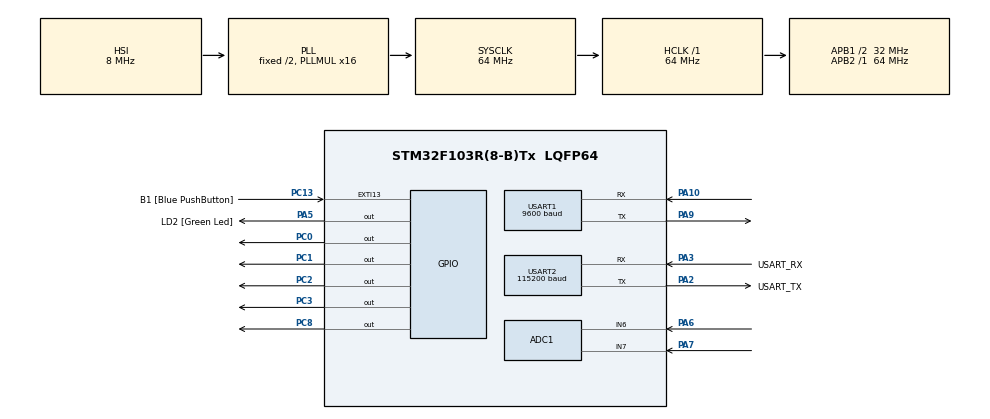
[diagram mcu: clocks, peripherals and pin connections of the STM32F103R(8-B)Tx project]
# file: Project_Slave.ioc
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ADC1.Channel-0\#ChannelRegularConversion=ADC_CHANNEL_6
ADC1.Channel-1\#ChannelRegularConversion=ADC_CHANNEL_7
ADC1.ContinuousConvMode=ENABLE
ADC1.NbrOfConversion=2
ADC1.NbrOfConversionFlag=1
ADC1.Rank-0\#ChannelRegularConversion=1
ADC1.Rank-1\#ChannelRegularConversion=2
ADC1.SamplingTime-0\#ChannelRegularConversion=ADC_SAMPLETIME_239CYCLES_5
ADC1.SamplingTime-1\#ChannelRegularConversion=ADC_SAMPLETIME_239CYCLES_5
ADC1.master=1
Dma.ADC1.0.Direction=DMA_PERIPH_TO_MEMORY
Dma.ADC1.0.Instance=DMA1_Channel1
Dma.ADC1.0.MemDataAlignment=DMA_MDATAALIGN_WORD
Dma.ADC1.0.MemInc=DMA_MINC_ENABLE
Dma.ADC1.0.Mode=DMA_CIRCULAR
Dma.ADC1.0.PeriphDataAlignment=DMA_PDATAALIGN_WORD
Dma.ADC1.0.PeriphInc=DMA_PINC_DISABLE
Dma.ADC1.0.Priority=DMA_PRIORITY_LOW
Dma.Request0=ADC1
Dma.Request1=USART1_RX
Dma.USART1_RX.1.Direction=DMA_PERIPH_TO_MEMORY
Dma.USART1_RX.1.Instance=DMA1_Channel5
Dma.USART1_RX.1.MemDataAlignment=DMA_MDATAALIGN_WORD
Dma.USART1_RX.1.MemInc=DMA_MINC_ENABLE
Dma.USART1_RX.1.Mode=DMA_CIRCULAR
Dma.USART1_RX.1.PeriphDataAlignment=DMA_PDATAALIGN_WORD
Dma.USART1_RX.1.PeriphInc=DMA_PINC_DISABLE
Dma.USART1_RX.1.Priority=DMA_PRIORITY_LOW
Mcu.Family=STM32F1
Mcu.Name=STM32F103R(8-B)Tx
Mcu.Package=LQFP64
NVIC.ADC1_2_IRQn=true\:0\:0\:false\:false\:true\:true\:true\:true
NVIC.DMA1_Channel1_IRQn=true\:0\:0\:false\:false\:true\:false\:true\:true
NVIC.DMA1_Channel5_IRQn=true\:0\:0\:false\:false\:true\:false\:true\:true
NVIC.EXTI15_10_IRQn=true\:0\:0\:false\:false\:true\:true\:true\:true
NVIC.PriorityGroup=NVIC_PRIORITYGROUP_4
NVIC.USART2_IRQn=true\:0\:0\:false\:false\:true\:true\:true\:true
PA10.Mode=Asynchronous
PA10.Signal=USART1_RX
PA13.GPIO_Label=TMS
PA13.Mode=Serial_Wire
PA13.Signal=SYS_JTMS-SWDIO
PA14.GPIO_Label=TCK
PA14.Mode=Serial_Wire
PA14.Signal=SYS_JTCK-SWCLK
PA2.GPIO_Label=USART_TX
PA2.GPIO_Mode=GPIO_MODE_AF_PP
PA2.GPIO_PuPd=GPIO_NOPULL
PA2.GPIO_Speed=GPIO_SPEED_FREQ_LOW
PA2.Mode=Asynchronous
PA2.Signal=USART2_TX
PA3.GPIO_Label=USART_RX
PA3.GPIO_Mode=GPIO_MODE_AF_PP
PA3.GPIO_PuPd=GPIO_NOPULL
PA3.GPIO_Speed=GPIO_SPEED_FREQ_LOW
PA3.Mode=Asynchronous
PA3.Signal=USART2_RX
PA5.GPIO_Label=LD2 [Green Led]
PA5.GPIO_ModeDefaultOutputPP=GPIO_MODE_OUTPUT_PP
PA5.GPIO_PuPd=GPIO_NOPULL
PA5.GPIO_Speed=GPIO_SPEED_FREQ_LOW
PA5.Signal=GPIO_Output
PA6.Signal=ADCx_IN6
PA7.Signal=ADCx_IN7
PA9.Mode=Asynchronous
PA9.Signal=USART1_TX
PB3.GPIO_Label=SWO
PB3.Signal=SYS_JTDO-TRACESWO
PC0.Signal=GPIO_Output
PC1.Signal=GPIO_Output
PC13-TAMPER-RTC.GPIO_Label=B1 [Blue PushButton]
PC13-TAMPER-RTC.GPIO_PuPd=GPIO_NOPULL
PC13-TAMPER-RTC.Signal=GPXTI13
PC14-OSC32_IN.Mode=LSE-External-Oscillator
PC14-OSC32_IN.Signal=RCC_OSC32_IN
PC15-OSC32_OUT.Mode=LSE-External-Oscillator
PC15-OSC32_OUT.Signal=RCC_OSC32_OUT
PC2.Signal=GPIO_Output
PC3.Signal=GPIO_Output
PC8.Signal=GPIO_Output
PD0-OSC_IN.Mode=HSE-External-Clock-Source
PD0-OSC_IN.Signal=RCC_OSC_IN
PD1-OSC_OUT.Mode=HSE-External-Clock-Source
PD1-OSC_OUT.Signal=RCC_OSC_OUT
ProjectManager.HeapSize=0x200
ProjectManager.StackSize=0x400
ProjectManager.TargetToolchain=STM32CubeIDE
RCC.ADCPresc=RCC_ADCPCLK2_DIV8
RCC.AHBFreq_Value=64000000
RCC.APB1CLKDivider=RCC_HCLK_DIV2
RCC.APB1Freq_Value=32000000
RCC.APB1TimFreq_Value=64000000
RCC.APB2Freq_Value=64000000
RCC.APB2TimFreq_Value=64000000
RCC.HCLKFreq_Value=64000000
RCC.PLLMUL=RCC_PLL_MUL16
RCC.RTCClockSelection=RCC_RTCCLKSOURCE_LSE
RCC.SYSCLKFreq_VALUE=64000000
RCC.SYSCLKSource=RCC_SYSCLKSOURCE_PLLCLK
RCC.USBFreq_Value=64000000
SH.ADCx_IN6.0=ADC1_IN6,IN6
SH.ADCx_IN7.0=ADC1_IN7,IN7
TIM1.Period=65535
TIM1.Prescaler=64000-1
USART1.BaudRate=9600
USART1.VirtualMode=VM_ASYNC
USART2.BaudRate=115200
USART2.VirtualMode=VM_ASYNC
VP_TIM1_VS_ClockSourceINT.Mode=Internal
board=NUCLEO-F103RB

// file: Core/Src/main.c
/* USER CODE BEGIN Header */
/**
  ******************************************************************************
  * @file           : main.c
  * @brief          : Main program body
  ******************************************************************************
  * @attention
  *
  * Copyright (c) 2022 STMicroelectronics.
  * All rights reserved.
  *
  * This software is licensed under terms that can be found in the LICENSE file
  * in the root directory of this software component.
  * If no LICENSE file comes with this software, it is provided AS-IS.
  *
  ******************************************************************************
  */
/* USER CODE END Header */
#include "main.h"

/* USER CODE BEGIN Includes */
#include <stdio.h>
#include <stdlib.h>
#include <time.h>

/* USER CODE END Includes */

 ADC_HandleTypeDef hadc1;
DMA_HandleTypeDef hdma_adc1;
TIM_HandleTypeDef htim1;
UART_HandleTypeDef huart1;
UART_HandleTypeDef huart2;
DMA_HandleTypeDef hdma_usart1_rx;

/* USER CODE BEGIN PV */

uint32_t adc_value[2]; // Joystick's values {X(LEFT/RIGIHT), Y(UP/DOWN)}
int comp = 4; // Values of the Joystick (to Int) (to send the data to Master Board)

int dis_flag[2]; // Receiving data set from Master Board (data set[2] = {alarm ON/OFF(0, 1), distance(Ultrasonic Sensor's values)};)
int distance; // Ultrasonic sensor's values from Master Board (dis_flag[1])

/* USER CODE END PV */

void SystemClock_Config(void);
static void MX_GPIO_Init(void);
static void MX_USART2_UART_Init(void);
static void MX_DMA_Init(void);
static void MX_ADC1_Init(void);
static void MX_USART1_UART_Init(void);
static void MX_TIM1_Init(void);
/* USER CODE BEGIN PFP */
#ifdef __GNUC__
/* With GCC, small printf (option LD Linker->Libraries->Small printf
   set to 'Yes') calls __io_putchar() */
#define PUTCHAR_PROTOTYPE int __io_putchar(int ch)
#else
#define PUTCHAR_PROTOTYPE int fputc(int ch, FILE *f)
#endif /* __GNUC__ */

PUTCHAR_PROTOTYPE
{
  /* Place your implementation of fputc here */
  /* e.g. write a character to the USART1 and Loop until the end of transmission */
  HAL_UART_Transmit(&huart2, (uint8_t *)&ch, 1, 0xFFFF);

  return ch;
}

/* USER CODE END PFP */

/* USER CODE BEGIN 0 */

//========================================

// Making our own 'milli-seconds delay' instead of using HAL_Delay(), for the purpose of protecting against connection error
void ms_delay(uint16_t delay)
{
	__HAL_TIM_SET_COUNTER(&htim1, 0);
	while(__HAL_TIM_GET_COUNTER(&htim1) < delay);
}

//========================================

void Drive() // Going straight
{
	HAL_GPIO_WritePin(GPIOC, GPIO_PIN_0, GPIO_PIN_SET);
	HAL_GPIO_WritePin(GPIOC, GPIO_PIN_2, GPIO_PIN_SET);
}

void Stop()
{
	HAL_GPIO_WritePin(GPIOC, GPIO_PIN_0, GPIO_PIN_RESET);
	HAL_GPIO_WritePin(GPIOC, GPIO_PIN_2, GPIO_PIN_RESET);
}

void Reverse() // Going back & Turning Left or Right
{
	// Random (Turning Left || Turning Right)
	int random = rand() % 2;

	if (distance < 10) // if the distance of the alarm clock(values from the ultrasonic sensor) becomes 10cm
	{
		HAL_GPIO_WritePin(GPIOC, GPIO_PIN_0 | GPIO_PIN_2, GPIO_PIN_RESET); // Stop going straight
		ms_delay(1000);
		HAL_GPIO_WritePin(GPIOC, GPIO_PIN_1 | GPIO_PIN_3, GPIO_PIN_SET); // Going back for 1 sec
		ms_delay(1000);
		HAL_GPIO_WritePin(GPIOC, GPIO_PIN_1 | GPIO_PIN_3, GPIO_PIN_RESET); // Stop going back

		// Turning Left
		if (random == 0)
		{
			HAL_GPIO_WritePin(GPIOC, GPIO_PIN_0, GPIO_PIN_SET); // Start turning left for 1 sec
			ms_delay(1000);
			HAL_GPIO_WritePin(GPIOC, GPIO_PIN_0, GPIO_PIN_RESET); // Stop turning left
		}

		// Turning Right
		else if (random == 1)
		{
			HAL_GPIO_WritePin(GPIOC, GPIO_PIN_2, GPIO_PIN_SET); // Start turning right for 1 sec
			ms_delay(1000);
			HAL_GPIO_WritePin(GPIOC, GPIO_PIN_2, GPIO_PIN_RESET); // Stop turning right
		}
	}
}

//========================================

void JoystickSend() // Sending Joystick's values to Master board
{
	if(adc_value[1] <= 100) {comp = 0;} //U -> UP
	else if(adc_value[1] >= 4000) {comp = 1;} //D -> DOWN
	else if(adc_value[0] >= 4000 ) {comp = 2;} //L -> LEFT
	else if(adc_value[0] <= 100) {comp = 3;} //R -> RIGHT
	else {comp = 4;} // Sending nothing

	//HAL_UART_Transmit(&huart1, &comp, comp, 0xFFFF); // Sending Joystick's values to Master Board
}

//========================================

/* USER CODE END 0 */

int main(void)
{

  /* MCU Configuration--------------------------------------------------------*/

  /* Reset of all peripherals, Initializes the Flash interface and the Systick. */
  HAL_Init();

  /* Configure the system clock */
  SystemClock_Config();

  /* Initialize all configured peripherals */
  MX_GPIO_Init();
  MX_USART2_UART_Init();
  MX_DMA_Init();
  MX_ADC1_Init();
  MX_USART1_UART_Init();
  MX_TIM1_Init();
  /* USER CODE BEGIN 2 */
  HAL_TIM_Base_Start(&htim1); // for using milli-second delay

  HAL_ADC_Start_DMA(&hadc1, adc_value, 2); // for getting joystick's values

  HAL_UART_Receive_DMA(&huart1, dis_flag, 2); // for receiving datas from Master Board

  /* USER CODE END 2 */

  /* Infinite loop */
  /* USER CODE BEGIN WHILE */
  while (1)
  {
	  if (dis_flag[0] == 1) // if receiving "alarm ON"  (0 : alarm OFF / 1 : alarm ON )
	  {
		  Drive(); // going straight(default)

		  if (dis_flag[1] < 15) // if the ultrasonic sensor's values becomes less than 10cm while going straight
		  {
			  Reverse(); // going back + turning left or right(random)
		  }
	  }
	  else if (dis_flag[0] == 0)
	  {
		  Stop(); // Stop moving
	  }

	  // Checking and sending Joystick's values to Master Board
	  if(adc_value[1] <= 200) {comp = 0;} //U -> UP
	  else if(adc_value[1] >= 4000) {comp = 1;} //D -> DOWN
	  else if(adc_value[0] >= 4000 ) {comp = 2;} //L -> LEFT
	  else if(adc_value[0] <= 200) {comp = 3;} //R -> RIGHT
	  else {comp = 4;} // Default
	  HAL_UART_Transmit(&huart1, &comp, 1, 0xFFFF); // Sending Joystick's values to Master Board

    /* USER CODE END WHILE */

  }
}

void SystemClock_Config(void)
{
  RCC_OscInitTypeDef RCC_OscInitStruct = {0};
  RCC_ClkInitTypeDef RCC_ClkInitStruct = {0};
  RCC_PeriphCLKInitTypeDef PeriphClkInit = {0};

  /** Initializes the RCC Oscillators according to the specified parameters
  * in the RCC_OscInitTypeDef structure.
  */
  RCC_OscInitStruct.OscillatorType = RCC_OSCILLATORTYPE_HSI;
  RCC_OscInitStruct.HSIState = RCC_HSI_ON;
  RCC_OscInitStruct.HSICalibrationValue = RCC_HSICALIBRATION_DEFAULT;
  RCC_OscInitStruct.PLL.PLLState = RCC_PLL_ON;
  RCC_OscInitStruct.PLL.PLLSource = RCC_PLLSOURCE_HSI_DIV2;
  RCC_OscInitStruct.PLL.PLLMUL = RCC_PLL_MUL16;
  if (HAL_RCC_OscConfig(&RCC_OscInitStruct) != HAL_OK)
  {
    Error_Handler();
  }

  /** Initializes the CPU, AHB and APB buses clocks
  */
  RCC_ClkInitStruct.ClockType = RCC_CLOCKTYPE_HCLK|RCC_CLOCKTYPE_SYSCLK
                              |RCC_CLOCKTYPE_PCLK1|RCC_CLOCKTYPE_PCLK2;
  RCC_ClkInitStruct.SYSCLKSource = RCC_SYSCLKSOURCE_PLLCLK;
  RCC_ClkInitStruct.AHBCLKDivider = RCC_SYSCLK_DIV1;
  RCC_ClkInitStruct.APB1CLKDivider = RCC_HCLK_DIV2;
  RCC_ClkInitStruct.APB2CLKDivider = RCC_HCLK_DIV1;

  if (HAL_RCC_ClockConfig(&RCC_ClkInitStruct, FLASH_LATENCY_2) != HAL_OK)
  {
    Error_Handler();
  }
  PeriphClkInit.PeriphClockSelection = RCC_PERIPHCLK_ADC;
  PeriphClkInit.AdcClockSelection = RCC_ADCPCLK2_DIV8;
  if (HAL_RCCEx_PeriphCLKConfig(&PeriphClkInit) != HAL_OK)
  {
    Error_Handler();
  }
}

static void MX_ADC1_Init(void)
{

  ADC_ChannelConfTypeDef sConfig = {0};

  /** Common config
  */
  hadc1.Instance = ADC1;
  hadc1.Init.ScanConvMode = ADC_SCAN_ENABLE;
  hadc1.Init.ContinuousConvMode = ENABLE;
  hadc1.Init.DiscontinuousConvMode = DISABLE;
  hadc1.Init.ExternalTrigConv = ADC_SOFTWARE_START;
  hadc1.Init.DataAlign = ADC_DATAALIGN_RIGHT;
  hadc1.Init.NbrOfConversion = 2;
  if (HAL_ADC_Init(&hadc1) != HAL_OK)
  {
    Error_Handler();
  }

  /** Configure Regular Channel
  */
  sConfig.Channel = ADC_CHANNEL_6;
  sConfig.Rank = ADC_REGULAR_RANK_1;
  sConfig.SamplingTime = ADC_SAMPLETIME_239CYCLES_5;
  if (HAL_ADC_ConfigChannel(&hadc1, &sConfig) != HAL_OK)
  {
    Error_Handler();
  }

  /** Configure Regular Channel
  */
  sConfig.Channel = ADC_CHANNEL_7;
  sConfig.Rank = ADC_REGULAR_RANK_2;
  if (HAL_ADC_ConfigChannel(&hadc1, &sConfig) != HAL_OK)
  {
    Error_Handler();
  }

}

static void MX_TIM1_Init(void)
{

  TIM_ClockConfigTypeDef sClockSourceConfig = {0};
  TIM_MasterConfigTypeDef sMasterConfig = {0};

  htim1.Instance = TIM1;
  htim1.Init.Prescaler = 64000-1;
  htim1.Init.CounterMode = TIM_COUNTERMODE_UP;
  htim1.Init.Period = 65535;
  htim1.Init.ClockDivision = TIM_CLOCKDIVISION_DIV1;
  htim1.Init.RepetitionCounter = 0;
  htim1.Init.AutoReloadPreload = TIM_AUTORELOAD_PRELOAD_DISABLE;
  if (HAL_TIM_Base_Init(&htim1) != HAL_OK)
  {
    Error_Handler();
  }
  sClockSourceConfig.ClockSource = TIM_CLOCKSOURCE_INTERNAL;
  if (HAL_TIM_ConfigClockSource(&htim1, &sClockSourceConfig) != HAL_OK)
  {
    Error_Handler();
  }
  sMasterConfig.MasterOutputTrigger = TIM_TRGO_RESET;
  sMasterConfig.MasterSlaveMode = TIM_MASTERSLAVEMODE_DISABLE;
  if (HAL_TIMEx_MasterConfigSynchronization(&htim1, &sMasterConfig) != HAL_OK)
  {
    Error_Handler();
  }

}

static void MX_USART1_UART_Init(void)
{

  huart1.Instance = USART1;
  huart1.Init.BaudRate = 9600;
  huart1.Init.WordLength = UART_WORDLENGTH_8B;
  huart1.Init.StopBits = UART_STOPBITS_1;
  huart1.Init.Parity = UART_PARITY_NONE;
  huart1.Init.Mode = UART_MODE_TX_RX;
  huart1.Init.HwFlowCtl = UART_HWCONTROL_NONE;
  huart1.Init.OverSampling = UART_OVERSAMPLING_16;
  if (HAL_UART_Init(&huart1) != HAL_OK)
  {
    Error_Handler();
  }

}

static void MX_USART2_UART_Init(void)
{

  huart2.Instance = USART2;
  huart2.Init.BaudRate = 115200;
  huart2.Init.WordLength = UART_WORDLENGTH_8B;
  huart2.Init.StopBits = UART_STOPBITS_1;
  huart2.Init.Parity = UART_PARITY_NONE;
  huart2.Init.Mode = UART_MODE_TX_RX;
  huart2.Init.HwFlowCtl = UART_HWCONTROL_NONE;
  huart2.Init.OverSampling = UART_OVERSAMPLING_16;
  if (HAL_UART_Init(&huart2) != HAL_OK)
  {
    Error_Handler();
  }

}

static void MX_DMA_Init(void)
{

  /* DMA controller clock enable */
  __HAL_RCC_DMA1_CLK_ENABLE();

  /* DMA interrupt init */
  /* DMA1_Channel1_IRQn interrupt configuration */
  HAL_NVIC_SetPriority(DMA1_Channel1_IRQn, 0, 0);
  HAL_NVIC_EnableIRQ(DMA1_Channel1_IRQn);
  /* DMA1_Channel5_IRQn interrupt configuration */
  HAL_NVIC_SetPriority(DMA1_Channel5_IRQn, 0, 0);
  HAL_NVIC_EnableIRQ(DMA1_Channel5_IRQn);

}

static void MX_GPIO_Init(void)
{
  GPIO_InitTypeDef GPIO_InitStruct = {0};

  /* GPIO Ports Clock Enable */
  __HAL_RCC_GPIOC_CLK_ENABLE();
  __HAL_RCC_GPIOD_CLK_ENABLE();
  __HAL_RCC_GPIOA_CLK_ENABLE();
  __HAL_RCC_GPIOB_CLK_ENABLE();

  /*Configure GPIO pin Output Level */
  HAL_GPIO_WritePin(GPIOC, GPIO_PIN_0|GPIO_PIN_1|GPIO_PIN_2|GPIO_PIN_3
                          |GPIO_PIN_8, GPIO_PIN_RESET);

  /*Configure GPIO pin Output Level */
  HAL_GPIO_WritePin(LD2_GPIO_Port, LD2_Pin, GPIO_PIN_RESET);

  /*Configure GPIO pin : B1_Pin */
  GPIO_InitStruct.Pin = B1_Pin;
  GPIO_InitStruct.Mode = GPIO_MODE_IT_RISING;
  GPIO_InitStruct.Pull = GPIO_NOPULL;
  HAL_GPIO_Init(B1_GPIO_Port, &GPIO_InitStruct);

  /*Configure GPIO pins : PC0 PC1 PC2 PC3
                           PC8 */
  GPIO_InitStruct.Pin = GPIO_PIN_0|GPIO_PIN_1|GPIO_PIN_2|GPIO_PIN_3
                          |GPIO_PIN_8;
  GPIO_InitStruct.Mode = GPIO_MODE_OUTPUT_PP;
  GPIO_InitStruct.Pull = GPIO_NOPULL;
  GPIO_InitStruct.Speed = GPIO_SPEED_FREQ_LOW;
  HAL_GPIO_Init(GPIOC, &GPIO_InitStruct);

  /*Configure GPIO pin : LD2_Pin */
  GPIO_InitStruct.Pin = LD2_Pin;
  GPIO_InitStruct.Mode = GPIO_MODE_OUTPUT_PP;
  GPIO_InitStruct.Pull = GPIO_NOPULL;
  GPIO_InitStruct.Speed = GPIO_SPEED_FREQ_LOW;
  HAL_GPIO_Init(LD2_GPIO_Port, &GPIO_InitStruct);

  /* EXTI interrupt init*/
  HAL_NVIC_SetPriority(EXTI15_10_IRQn, 0, 0);
  HAL_NVIC_EnableIRQ(EXTI15_10_IRQn);

}

void Error_Handler(void)
{
  __disable_irq();
  while (1)
  {
  }
}
